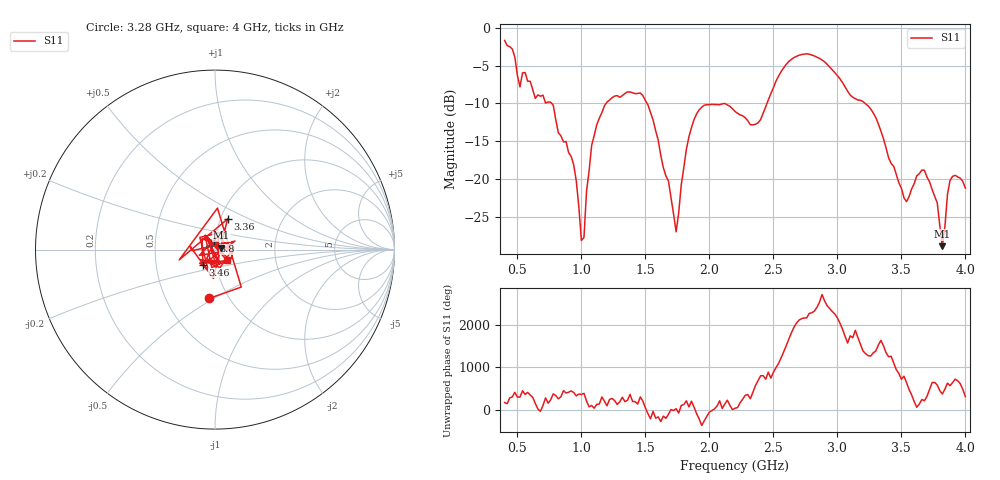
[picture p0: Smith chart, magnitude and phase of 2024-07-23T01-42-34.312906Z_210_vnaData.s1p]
!Created with skrf (http://scikit-rf.org).
# Hz S RI R 50.0
!freq ReS11 ImS11
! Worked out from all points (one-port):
!   181 points, 400 MHz to 4 GHz, reference 50 ohm
!   lowest |S11| = -28.9 dB at 3.82 GHz (marker M1), VSWR 1.07, Z = 53.5 + j1.12 ohm
!   |S11| at or under -10 dB: 768.2 MHz to 1.193 GHz (424.5 MHz wide, 43.3 % of centre); 1.513 GHz to 2.119 GHz (606.3 MHz wide, 33.4 % of centre); 3.217 GHz to end of sweep (the widest 3 of 4)
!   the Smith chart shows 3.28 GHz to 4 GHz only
!   S11 on the Smith chart (normalised r, x): 3.28 GHz: 0.81, -0.48; 3.36 GHz: 1.08, +0.38; 3.46 GHz: 0.86, -0.15; 3.8 GHz: 0.98, +0.10; 4 GHz: 1.13, -0.13
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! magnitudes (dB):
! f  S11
! 400 MHz  -1.7
! 520 MHz  -7.8
! 780 MHz  -10.2
! 860 MHz  -15.1
! 940 MHz  -18.1
! 1 GHz  -28.1
! 1.02 GHz  -27.7
! 1.08 GHz  -15.6
! 1.12 GHz  -12.8
! 1.3 GHz  -9.2
! 1.52 GHz  -10.2
! 1.74 GHz  -27.0
! 1.76 GHz  -24.5
! 1.82 GHz  -16.1
! 1.9 GHz  -11.4
! 2.2 GHz  -11.1
! 2.38 GHz  -12.6
! 2.66 GHz  -3.9
! 3.1 GHz  -8.9
! 3.28 GHz  -11.3
! 3.36 GHz  -14.7
! 3.46 GHz  -19.4
! 3.56 GHz  -22.3
! 3.68 GHz  -18.9
! 3.8 GHz  -26.2
! 3.82 GHz  -28.9
! 3.88 GHz  -20.2
! 4 GHz  -21.2
